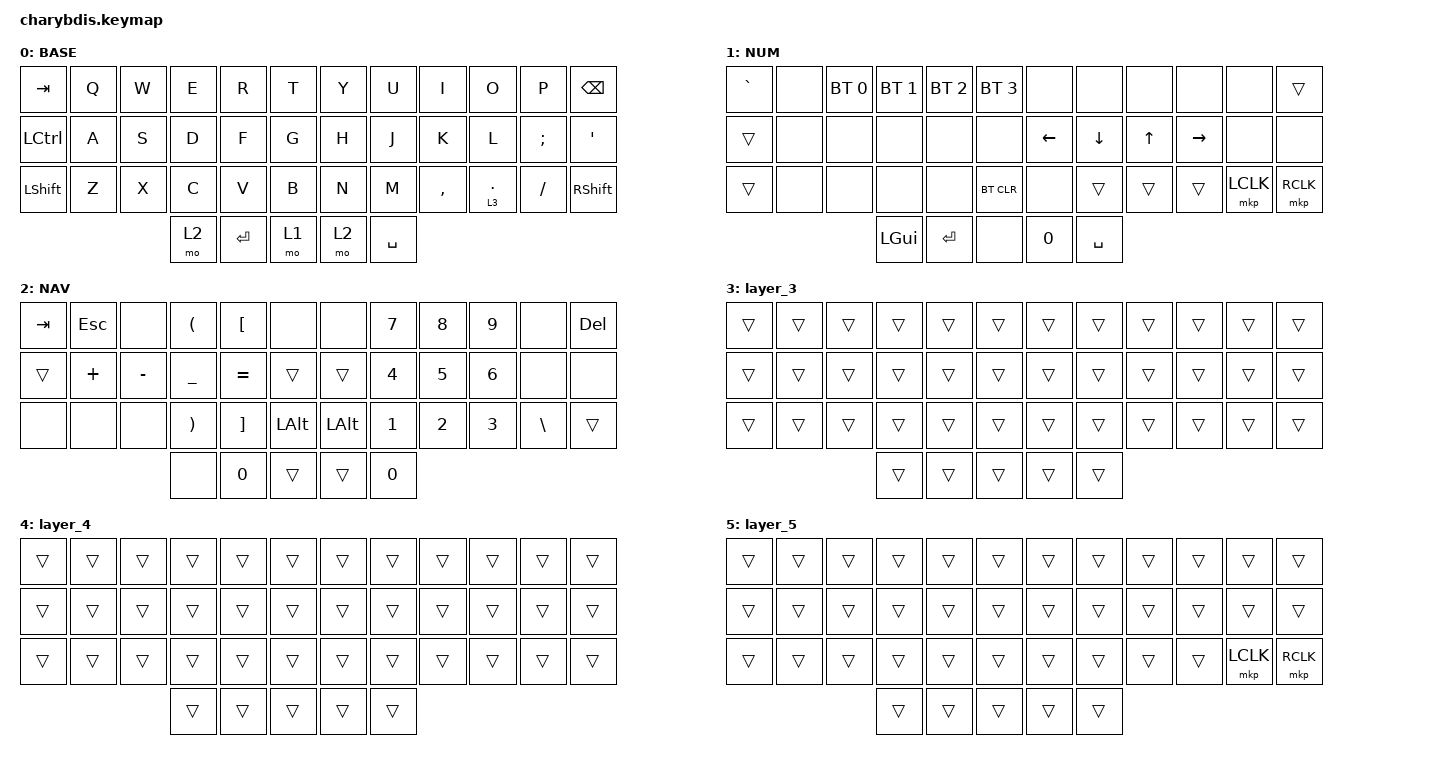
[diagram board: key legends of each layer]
#include <behaviors/mouse_keys.dtsi>
#include <behaviors.dtsi>
#include <dt-bindings/zmk/bt.h>
#include <dt-bindings/zmk/keys.h>
#include <dt-bindings/zmk/mouse.h>

/ {
    chosen { zmk,matrix_transform = &default_transform; };
};

/ {
    conditional_layers {
        compatible = "zmk,conditional-layers";

        hh {
            if-layers = <1 3>;
            then-layer = <4>;
        };

        scroll {
            if-layers = <5 3>;
            then-layer = <4>;
        };
    };

    behaviors {
        /*
        hm: homerow_mod {
            compatible = "zmk,behavior-hold-tap";
            #binding-cells = <2>;
            flavor = "tap-preferred";
            tapping-term-ms = <250>;
            quick-tap-ms = <150>;
            require-prior-idle-ms = <125>;
            bindings = <&kp>, <&kp>;
        };

        tdtb: td_mouse_scroll {
            compatible = "zmk,behavior-tap-dance";
            #binding-cells = <0>;
            bindings = <&httl 0 0>, <&to 0>;

            tapping-term-ms = <200>;
            label = "Trackball & Scroll";
        };

        tdtb2: td_slow_scroll {
            compatible = "zmk,behavior-tap-dance";
            #binding-cells = <0>;
            bindings = <&httl 0 0>, <&to 0>;

            label = "Scroll Slow & Base";
        };

        httl: ht_two_layers {
            compatible = "zmk,behavior-hold-tap";
            bindings = <&mo>, <&to>;

            #binding-cells = <2>;
            flavor = "balanced";
            tapping-term-ms = <200>;
        };

        td_bore: BASE_or_EXTRA {
            compatible = "zmk,behavior-tap-dance";
            #binding-cells = <0>;
            bindings = <&mo 0>, <&to 0>;
        };
*/

        swapper: swapper {
            compatible = "zmk,behavior-tri-state";
            #binding-cells = <0>;
            bindings = <&kt LALT>, <&kp TAB>, <&kt LALT>;
        };

        quicktap: quicktap {
            compatible = "zmk,behavior-hold-tap";
            label = "QUICKTAP";
            bindings = <&mo>, <&kp>;

            #binding-cells = <2>;
            tapping-term-ms = <125>;
        };
    };

    combos {
        compatible = "zmk,combos";

        /*
        Delete {
            bindings = <&kp DELETE>;
            key-positions = <8 9>;
            layers = <0>;
        };

        CapsWord {
            bindings = <&caps_word>;
            key-positions = <17 18>;
            layers = <0>;
        };

        BASE_or_EXTRAS {
            bindings = <&td_bore>;
            key-positions = <38 39>;
        };
 */
    };

    macros {
        alt_tab: alt_tab {
            compatible = "zmk,behavior-macro";
            #binding-cells = <0>;
            bindings = <&kp LEFT_ALT &kp TAB>;
            label = "ALT_TAB";
            wait-ms = <2>;
        };
    };

    keymap {
        compatible = "zmk,keymap";

        BASE {
            bindings = <
&kp TAB         &kp Q  &kp W  &kp E  &kp R      &kp T    &kp Y  &kp U      &kp I      &kp O         &kp P          &kp BACKSPACE
&kp LCTRL       &kp A  &kp S  &kp D  &kp F      &kp G    &kp H  &kp J      &kp K      &kp L         &kp SEMICOLON  &kp SQT
&kp LEFT_SHIFT  &kp Z  &kp X  &kp C  &kp V      &kp B    &kp N  &kp M      &kp COMMA  &lt 3 PERIOD  &kp SLASH      &kp RIGHT_SHIFT
                              &mo 2  &kp ENTER  &mo 1    &mo 2  &kp SPACE
            >;
        };

        NUM {
            bindings = <
&kp GRAVE  &none  &bt BT_SEL 0  &bt BT_SEL 1  &bt BT_SEL 2  &bt BT_SEL 3    &none     &none      &none         &none      &none      &trans
&trans     &none  &none         &none         &none         &none           &kp LEFT  &kp DOWN   &kp UP_ARROW  &kp RIGHT  &none      &none
&trans     &none  &none         &none         &none         &bt BT_CLR      &none     &trans     &trans        &trans     &mkp LCLK  &mkp RCLK
                                &kp LGUI      &kp ENTER     &none           &kp N0    &kp SPACE
            >;
        };

        NAV {
            bindings = <
&kp TAB  &kp ESCAPE  &none      &kp LEFT_PARENTHESIS   &kp LEFT_BRACKET   &none           &none     &kp N7        &kp N8        &kp N9        &none          &kp DELETE
&trans   &kp PLUS    &kp MINUS  &kp UNDERSCORE         &kp EQUAL          &trans          &trans    &kp NUMBER_4  &kp N5        &kp NUMBER_6  &none          &none
&none    &none       &none      &kp RIGHT_PARENTHESIS  &kp RIGHT_BRACKET  &kp LEFT_ALT    &kp LALT  &kp NUMBER_1  &kp NUMBER_2  &kp NUMBER_3  &kp BACKSLASH  &trans
                                &none                  &kp N0             &trans          &trans    &kp N0
            >;
        };

        layer_3 {
            bindings = <
&trans  &trans  &trans  &trans  &trans  &trans    &trans  &trans  &trans  &trans  &trans  &trans
&trans  &trans  &trans  &trans  &trans  &trans    &trans  &trans  &trans  &trans  &trans  &trans
&trans  &trans  &trans  &trans  &trans  &trans    &trans  &trans  &trans  &trans  &trans  &trans
                        &trans  &trans  &trans    &trans  &trans
            >;
        };

        layer_4 {
            bindings = <
&trans  &trans  &trans  &trans  &trans  &trans    &trans  &trans  &trans  &trans  &trans  &trans
&trans  &trans  &trans  &trans  &trans  &trans    &trans  &trans  &trans  &trans  &trans  &trans
&trans  &trans  &trans  &trans  &trans  &trans    &trans  &trans  &trans  &trans  &trans  &trans
                        &trans  &trans  &trans    &trans  &trans
            >;
        };

        layer_5 {
            bindings = <
&trans  &trans  &trans  &trans  &trans  &trans    &trans  &trans  &trans  &trans  &trans     &trans
&trans  &trans  &trans  &trans  &trans  &trans    &trans  &trans  &trans  &trans  &trans     &trans
&trans  &trans  &trans  &trans  &trans  &trans    &trans  &trans  &trans  &trans  &mkp LCLK  &mkp RCLK
                        &trans  &trans  &trans    &trans  &trans
            >;
        };
    };
};
